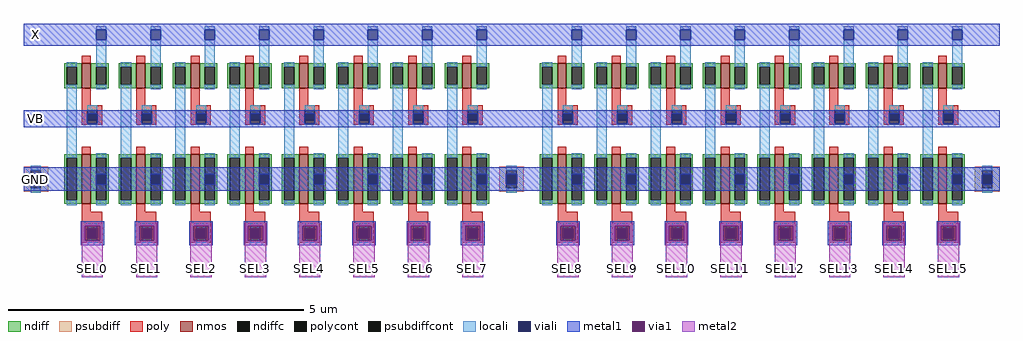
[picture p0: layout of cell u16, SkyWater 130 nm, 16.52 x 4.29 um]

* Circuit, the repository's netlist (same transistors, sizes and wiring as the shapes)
* NGSPICE file created from u16.ext - technology: sky130A

.subckt u16 SEL0 SEL1 SEL2 SEL3 SEL4 SEL5 SEL6 SEL7 SEL8 SEL9 SEL10 SEL11 SEL12 SEL13
+ SEL14 SEL15 X VB GND
X0 X VB a_1426_n392# GND sky130_fd_pr__nfet_01v8 ad=0.126 pd=1.44 as=0.126 ps=1.44 w=0.42 l=0.15
X1 GND SEL7 a_1426_n392# GND sky130_fd_pr__nfet_01v8 ad=0.252 pd=2.28 as=0.252 ps=2.28 w=0.84 l=0.15
X2 X VB a_690_n392# GND sky130_fd_pr__nfet_01v8 ad=0.126 pd=1.44 as=0.126 ps=1.44 w=0.42 l=0.15
X3 X VB a_1932_n392# GND sky130_fd_pr__nfet_01v8 ad=0.126 pd=1.44 as=0.126 ps=1.44 w=0.42 l=0.15
X4 X VB a_1058_n392# GND sky130_fd_pr__nfet_01v8 ad=0.126 pd=1.44 as=0.126 ps=1.44 w=0.42 l=0.15
X5 X VB a_2852_n392# GND sky130_fd_pr__nfet_01v8 ad=0.126 pd=1.44 as=0.126 ps=1.44 w=0.42 l=0.15
X6 GND SEL3 a_690_n392# GND sky130_fd_pr__nfet_01v8 ad=0.252 pd=2.28 as=0.252 ps=2.28 w=0.84 l=0.15
X7 X VB a_874_n392# GND sky130_fd_pr__nfet_01v8 ad=0.126 pd=1.44 as=0.126 ps=1.44 w=0.42 l=0.15
X8 X VB a_2116_n392# GND sky130_fd_pr__nfet_01v8 ad=0.126 pd=1.44 as=0.126 ps=1.44 w=0.42 l=0.15
X9 GND SEL4 a_874_n392# GND sky130_fd_pr__nfet_01v8 ad=0.252 pd=2.28 as=0.252 ps=2.28 w=0.84 l=0.15
X10 GND SEL11 a_2300_n392# GND sky130_fd_pr__nfet_01v8 ad=0.252 pd=2.28 as=0.252 ps=2.28 w=0.84 l=0.15
X11 GND SEL5 a_1058_n392# GND sky130_fd_pr__nfet_01v8 ad=0.252 pd=2.28 as=0.252 ps=2.28 w=0.84 l=0.15
X12 X VB a_1242_n392# GND sky130_fd_pr__nfet_01v8 ad=0.126 pd=1.44 as=0.126 ps=1.44 w=0.42 l=0.15
X13 X VB a_138_n392# GND sky130_fd_pr__nfet_01v8 ad=0.126 pd=1.44 as=0.126 ps=1.44 w=0.42 l=0.15
X14 GND SEL0 a_138_n392# GND sky130_fd_pr__nfet_01v8 ad=0.252 pd=2.28 as=0.252 ps=2.28 w=0.84 l=0.15
X15 GND SEL12 a_2484_n392# GND sky130_fd_pr__nfet_01v8 ad=0.252 pd=2.28 as=0.252 ps=2.28 w=0.84 l=0.15
X16 X VB a_1748_n392# GND sky130_fd_pr__nfet_01v8 ad=0.126 pd=1.44 as=0.126 ps=1.44 w=0.42 l=0.15
X17 GND SEL13 a_2668_n392# GND sky130_fd_pr__nfet_01v8 ad=0.252 pd=2.28 as=0.252 ps=2.28 w=0.84 l=0.15
X18 X VB a_2300_n392# GND sky130_fd_pr__nfet_01v8 ad=0.126 pd=1.44 as=0.126 ps=1.44 w=0.42 l=0.15
X19 GND SEL9 a_1932_n392# GND sky130_fd_pr__nfet_01v8 ad=0.252 pd=2.28 as=0.252 ps=2.28 w=0.84 l=0.15
X20 GND SEL15 a_3036_n392# GND sky130_fd_pr__nfet_01v8 ad=0.252 pd=2.28 as=0.252 ps=2.28 w=0.84 l=0.15
X21 X VB a_322_n392# GND sky130_fd_pr__nfet_01v8 ad=0.126 pd=1.44 as=0.126 ps=1.44 w=0.42 l=0.15
X22 GND SEL6 a_1242_n392# GND sky130_fd_pr__nfet_01v8 ad=0.252 pd=2.28 as=0.252 ps=2.28 w=0.84 l=0.15
X23 X VB a_2484_n392# GND sky130_fd_pr__nfet_01v8 ad=0.126 pd=1.44 as=0.126 ps=1.44 w=0.42 l=0.15
X24 GND SEL1 a_322_n392# GND sky130_fd_pr__nfet_01v8 ad=0.252 pd=2.28 as=0.252 ps=2.28 w=0.84 l=0.15
X25 X VB a_3036_n392# GND sky130_fd_pr__nfet_01v8 ad=0.126 pd=1.44 as=0.126 ps=1.44 w=0.42 l=0.15
X26 X VB a_506_n392# GND sky130_fd_pr__nfet_01v8 ad=0.126 pd=1.44 as=0.126 ps=1.44 w=0.42 l=0.15
X27 GND SEL2 a_506_n392# GND sky130_fd_pr__nfet_01v8 ad=0.252 pd=2.28 as=0.252 ps=2.28 w=0.84 l=0.15
X28 GND SEL14 a_2852_n392# GND sky130_fd_pr__nfet_01v8 ad=0.252 pd=2.28 as=0.252 ps=2.28 w=0.84 l=0.15
X29 X VB a_2668_n392# GND sky130_fd_pr__nfet_01v8 ad=0.126 pd=1.44 as=0.126 ps=1.44 w=0.42 l=0.15
X30 GND SEL8 a_1748_n392# GND sky130_fd_pr__nfet_01v8 ad=0.252 pd=2.28 as=0.252 ps=2.28 w=0.84 l=0.15
X31 GND SEL10 a_2116_n392# GND sky130_fd_pr__nfet_01v8 ad=0.252 pd=2.28 as=0.252 ps=2.28 w=0.84 l=0.15
.ends

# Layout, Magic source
magic
tech sky130A
magscale 1 2
<< nmos >>
rect 198 0 228 84
rect 382 0 412 84
rect 566 0 596 84
rect 750 0 780 84
rect 934 0 964 84
rect 1118 0 1148 84
rect 1302 0 1332 84
rect 1486 0 1516 84
rect 1808 0 1838 84
rect 1992 0 2022 84
rect 2176 0 2206 84
rect 2360 0 2390 84
rect 2544 0 2574 84
rect 2728 0 2758 84
rect 2912 0 2942 84
rect 3096 0 3126 84
rect 198 -392 228 -224
rect 382 -392 412 -224
rect 566 -392 596 -224
rect 750 -392 780 -224
rect 934 -392 964 -224
rect 1118 -392 1148 -224
rect 1302 -392 1332 -224
rect 1486 -392 1516 -224
rect 1808 -392 1838 -224
rect 1992 -392 2022 -224
rect 2176 -392 2206 -224
rect 2360 -392 2390 -224
rect 2544 -392 2574 -224
rect 2728 -392 2758 -224
rect 2912 -392 2942 -224
rect 3096 -392 3126 -224
<< ndiff >>
rect 138 72 198 84
rect 138 12 146 72
rect 180 12 198 72
rect 138 0 198 12
rect 228 72 288 84
rect 228 12 246 72
rect 280 12 288 72
rect 228 0 288 12
rect 322 72 382 84
rect 322 12 330 72
rect 364 12 382 72
rect 322 0 382 12
rect 412 72 472 84
rect 412 12 430 72
rect 464 12 472 72
rect 412 0 472 12
rect 506 72 566 84
rect 506 12 514 72
rect 548 12 566 72
rect 506 0 566 12
rect 596 72 656 84
rect 596 12 614 72
rect 648 12 656 72
rect 596 0 656 12
rect 690 72 750 84
rect 690 12 698 72
rect 732 12 750 72
rect 690 0 750 12
rect 780 72 840 84
rect 780 12 798 72
rect 832 12 840 72
rect 780 0 840 12
rect 874 72 934 84
rect 874 12 882 72
rect 916 12 934 72
rect 874 0 934 12
rect 964 72 1024 84
rect 964 12 982 72
rect 1016 12 1024 72
rect 964 0 1024 12
rect 1058 72 1118 84
rect 1058 12 1066 72
rect 1100 12 1118 72
rect 1058 0 1118 12
rect 1148 72 1208 84
rect 1148 12 1166 72
rect 1200 12 1208 72
rect 1148 0 1208 12
rect 1242 72 1302 84
rect 1242 12 1250 72
rect 1284 12 1302 72
rect 1242 0 1302 12
rect 1332 72 1392 84
rect 1332 12 1350 72
rect 1384 12 1392 72
rect 1332 0 1392 12
rect 1426 72 1486 84
rect 1426 12 1434 72
rect 1468 12 1486 72
rect 1426 0 1486 12
rect 1516 72 1576 84
rect 1516 12 1534 72
rect 1568 12 1576 72
rect 1516 0 1576 12
rect 1748 72 1808 84
rect 1748 12 1756 72
rect 1790 12 1808 72
rect 1748 0 1808 12
rect 1838 72 1898 84
rect 1838 12 1856 72
rect 1890 12 1898 72
rect 1838 0 1898 12
rect 1932 72 1992 84
rect 1932 12 1940 72
rect 1974 12 1992 72
rect 1932 0 1992 12
rect 2022 72 2082 84
rect 2022 12 2040 72
rect 2074 12 2082 72
rect 2022 0 2082 12
rect 2116 72 2176 84
rect 2116 12 2124 72
rect 2158 12 2176 72
rect 2116 0 2176 12
rect 2206 72 2266 84
rect 2206 12 2224 72
rect 2258 12 2266 72
rect 2206 0 2266 12
rect 2300 72 2360 84
rect 2300 12 2308 72
rect 2342 12 2360 72
rect 2300 0 2360 12
rect 2390 72 2450 84
rect 2390 12 2408 72
rect 2442 12 2450 72
rect 2390 0 2450 12
rect 2484 72 2544 84
rect 2484 12 2492 72
rect 2526 12 2544 72
rect 2484 0 2544 12
rect 2574 72 2634 84
rect 2574 12 2592 72
rect 2626 12 2634 72
rect 2574 0 2634 12
rect 2668 72 2728 84
rect 2668 12 2676 72
rect 2710 12 2728 72
rect 2668 0 2728 12
rect 2758 72 2818 84
rect 2758 12 2776 72
rect 2810 12 2818 72
rect 2758 0 2818 12
rect 2852 72 2912 84
rect 2852 12 2860 72
rect 2894 12 2912 72
rect 2852 0 2912 12
rect 2942 72 3002 84
rect 2942 12 2960 72
rect 2994 12 3002 72
rect 2942 0 3002 12
rect 3036 72 3096 84
rect 3036 12 3044 72
rect 3078 12 3096 72
rect 3036 0 3096 12
rect 3126 72 3186 84
rect 3126 12 3144 72
rect 3178 12 3186 72
rect 3126 0 3186 12
rect 138 -236 198 -224
rect 138 -380 146 -236
rect 180 -380 198 -236
rect 138 -392 198 -380
rect 228 -236 288 -224
rect 228 -380 246 -236
rect 280 -380 288 -236
rect 228 -392 288 -380
rect 322 -236 382 -224
rect 322 -380 330 -236
rect 364 -380 382 -236
rect 322 -392 382 -380
rect 412 -236 472 -224
rect 412 -380 430 -236
rect 464 -380 472 -236
rect 412 -392 472 -380
rect 506 -236 566 -224
rect 506 -380 514 -236
rect 548 -380 566 -236
rect 506 -392 566 -380
rect 596 -236 656 -224
rect 596 -380 614 -236
rect 648 -380 656 -236
rect 596 -392 656 -380
rect 690 -236 750 -224
rect 690 -380 698 -236
rect 732 -380 750 -236
rect 690 -392 750 -380
rect 780 -236 840 -224
rect 780 -380 798 -236
rect 832 -380 840 -236
rect 780 -392 840 -380
rect 874 -236 934 -224
rect 874 -380 882 -236
rect 916 -380 934 -236
rect 874 -392 934 -380
rect 964 -236 1024 -224
rect 964 -380 982 -236
rect 1016 -380 1024 -236
rect 964 -392 1024 -380
rect 1058 -236 1118 -224
rect 1058 -380 1066 -236
rect 1100 -380 1118 -236
rect 1058 -392 1118 -380
rect 1148 -236 1208 -224
rect 1148 -380 1166 -236
rect 1200 -380 1208 -236
rect 1148 -392 1208 -380
rect 1242 -236 1302 -224
rect 1242 -380 1250 -236
rect 1284 -380 1302 -236
rect 1242 -392 1302 -380
rect 1332 -236 1392 -224
rect 1332 -380 1350 -236
rect 1384 -380 1392 -236
rect 1332 -392 1392 -380
rect 1426 -236 1486 -224
rect 1426 -380 1434 -236
rect 1468 -380 1486 -236
rect 1426 -392 1486 -380
rect 1516 -236 1576 -224
rect 1516 -380 1534 -236
rect 1568 -380 1576 -236
rect 1748 -236 1808 -224
rect 1516 -392 1576 -380
rect 1748 -380 1756 -236
rect 1790 -380 1808 -236
rect 1748 -392 1808 -380
rect 1838 -236 1898 -224
rect 1838 -380 1856 -236
rect 1890 -380 1898 -236
rect 1838 -392 1898 -380
rect 1932 -236 1992 -224
rect 1932 -380 1940 -236
rect 1974 -380 1992 -236
rect 1932 -392 1992 -380
rect 2022 -236 2082 -224
rect 2022 -380 2040 -236
rect 2074 -380 2082 -236
rect 2022 -392 2082 -380
rect 2116 -236 2176 -224
rect 2116 -380 2124 -236
rect 2158 -380 2176 -236
rect 2116 -392 2176 -380
rect 2206 -236 2266 -224
rect 2206 -380 2224 -236
rect 2258 -380 2266 -236
rect 2206 -392 2266 -380
rect 2300 -236 2360 -224
rect 2300 -380 2308 -236
rect 2342 -380 2360 -236
rect 2300 -392 2360 -380
rect 2390 -236 2450 -224
rect 2390 -380 2408 -236
rect 2442 -380 2450 -236
rect 2390 -392 2450 -380
rect 2484 -236 2544 -224
rect 2484 -380 2492 -236
rect 2526 -380 2544 -236
rect 2484 -392 2544 -380
rect 2574 -236 2634 -224
rect 2574 -380 2592 -236
rect 2626 -380 2634 -236
rect 2574 -392 2634 -380
rect 2668 -236 2728 -224
rect 2668 -380 2676 -236
rect 2710 -380 2728 -236
rect 2668 -392 2728 -380
rect 2758 -236 2818 -224
rect 2758 -380 2776 -236
rect 2810 -380 2818 -236
rect 2758 -392 2818 -380
rect 2852 -236 2912 -224
rect 2852 -380 2860 -236
rect 2894 -380 2912 -236
rect 2852 -392 2912 -380
rect 2942 -236 3002 -224
rect 2942 -380 2960 -236
rect 2994 -380 3002 -236
rect 2942 -392 3002 -380
rect 3036 -236 3096 -224
rect 3036 -380 3044 -236
rect 3078 -380 3096 -236
rect 3036 -392 3096 -380
rect 3126 -236 3186 -224
rect 3126 -380 3144 -236
rect 3178 -380 3186 -236
rect 3126 -392 3186 -380
<< ndiffc >>
rect 146 12 180 72
rect 246 12 280 72
rect 330 12 364 72
rect 430 12 464 72
rect 514 12 548 72
rect 614 12 648 72
rect 698 12 732 72
rect 798 12 832 72
rect 882 12 916 72
rect 982 12 1016 72
rect 1066 12 1100 72
rect 1166 12 1200 72
rect 1250 12 1284 72
rect 1350 12 1384 72
rect 1434 12 1468 72
rect 1534 12 1568 72
rect 1756 12 1790 72
rect 1856 12 1890 72
rect 1940 12 1974 72
rect 2040 12 2074 72
rect 2124 12 2158 72
rect 2224 12 2258 72
rect 2308 12 2342 72
rect 2408 12 2442 72
rect 2492 12 2526 72
rect 2592 12 2626 72
rect 2676 12 2710 72
rect 2776 12 2810 72
rect 2860 12 2894 72
rect 2960 12 2994 72
rect 3044 12 3078 72
rect 3144 12 3178 72
rect 146 -380 180 -236
rect 246 -380 280 -236
rect 330 -380 364 -236
rect 430 -380 464 -236
rect 514 -380 548 -236
rect 614 -380 648 -236
rect 698 -380 732 -236
rect 798 -380 832 -236
rect 882 -380 916 -236
rect 982 -380 1016 -236
rect 1066 -380 1100 -236
rect 1166 -380 1200 -236
rect 1250 -380 1284 -236
rect 1350 -380 1384 -236
rect 1434 -380 1468 -236
rect 1534 -380 1568 -236
rect 1756 -380 1790 -236
rect 1856 -380 1890 -236
rect 1940 -380 1974 -236
rect 2040 -380 2074 -236
rect 2124 -380 2158 -236
rect 2224 -380 2258 -236
rect 2308 -380 2342 -236
rect 2408 -380 2442 -236
rect 2492 -380 2526 -236
rect 2592 -380 2626 -236
rect 2676 -380 2710 -236
rect 2776 -380 2810 -236
rect 2860 -380 2894 -236
rect 2960 -380 2994 -236
rect 3044 -380 3078 -236
rect 3144 -380 3178 -236
<< psubdiff >>
rect 0 -278 84 -266
rect 0 -338 25 -278
rect 59 -338 84 -278
rect 0 -350 84 -338
rect 1610 -278 1694 -266
rect 1610 -338 1635 -278
rect 1669 -338 1694 -278
rect 1610 -350 1694 -338
rect 3220 -278 3304 -266
rect 3220 -338 3245 -278
rect 3279 -338 3304 -278
rect 3220 -350 3304 -338
<< psubdiffcont >>
rect 25 -338 59 -278
rect 1635 -338 1669 -278
rect 3245 -338 3279 -278
<< poly >>
rect 198 84 228 110
rect 382 84 412 110
rect 566 84 596 110
rect 750 84 780 110
rect 934 84 964 110
rect 1118 84 1148 110
rect 1302 84 1332 110
rect 1486 84 1516 110
rect 1808 84 1838 110
rect 1992 84 2022 110
rect 2176 84 2206 110
rect 2360 84 2390 110
rect 2544 84 2574 110
rect 2728 84 2758 110
rect 2912 84 2942 110
rect 3096 84 3126 110
rect 198 -58 228 0
rect 382 -58 412 0
rect 566 -58 596 0
rect 750 -58 780 0
rect 934 -58 964 0
rect 1118 -58 1148 0
rect 1302 -58 1332 0
rect 1486 -58 1516 0
rect 1808 -58 1838 0
rect 1992 -58 2022 0
rect 2176 -58 2206 0
rect 2360 -58 2390 0
rect 2544 -58 2574 0
rect 2728 -58 2758 0
rect 2912 -58 2942 0
rect 3096 -58 3126 0
rect 198 -74 266 -58
rect 198 -108 216 -74
rect 250 -108 266 -74
rect 198 -124 266 -108
rect 382 -74 450 -58
rect 382 -108 400 -74
rect 434 -108 450 -74
rect 382 -124 450 -108
rect 566 -74 634 -58
rect 566 -108 584 -74
rect 618 -108 634 -74
rect 566 -124 634 -108
rect 750 -74 818 -58
rect 750 -108 768 -74
rect 802 -108 818 -74
rect 750 -124 818 -108
rect 934 -74 1002 -58
rect 934 -108 952 -74
rect 986 -108 1002 -74
rect 934 -124 1002 -108
rect 1118 -74 1186 -58
rect 1118 -108 1136 -74
rect 1170 -108 1186 -74
rect 1118 -124 1186 -108
rect 1302 -74 1370 -58
rect 1302 -108 1320 -74
rect 1354 -108 1370 -74
rect 1302 -124 1370 -108
rect 1486 -74 1554 -58
rect 1486 -108 1504 -74
rect 1538 -108 1554 -74
rect 1486 -124 1554 -108
rect 1808 -74 1876 -58
rect 1808 -108 1826 -74
rect 1860 -108 1876 -74
rect 1808 -124 1876 -108
rect 1992 -74 2060 -58
rect 1992 -108 2010 -74
rect 2044 -108 2060 -74
rect 1992 -124 2060 -108
rect 2176 -74 2244 -58
rect 2176 -108 2194 -74
rect 2228 -108 2244 -74
rect 2176 -124 2244 -108
rect 2360 -74 2428 -58
rect 2360 -108 2378 -74
rect 2412 -108 2428 -74
rect 2360 -124 2428 -108
rect 2544 -74 2612 -58
rect 2544 -108 2562 -74
rect 2596 -108 2612 -74
rect 2544 -124 2612 -108
rect 2728 -74 2796 -58
rect 2728 -108 2746 -74
rect 2780 -108 2796 -74
rect 2728 -124 2796 -108
rect 2912 -74 2980 -58
rect 2912 -108 2930 -74
rect 2964 -108 2980 -74
rect 2912 -124 2980 -108
rect 3096 -74 3164 -58
rect 3096 -108 3114 -74
rect 3148 -108 3164 -74
rect 3096 -124 3164 -108
rect 198 -224 228 -198
rect 382 -224 412 -198
rect 566 -224 596 -198
rect 750 -224 780 -198
rect 934 -224 964 -198
rect 1118 -224 1148 -198
rect 1302 -224 1332 -198
rect 1486 -224 1516 -198
rect 1808 -224 1838 -198
rect 1992 -224 2022 -198
rect 2176 -224 2206 -198
rect 2360 -224 2390 -198
rect 2544 -224 2574 -198
rect 2728 -224 2758 -198
rect 2912 -224 2942 -198
rect 3096 -224 3126 -198
rect 198 -418 228 -392
rect 382 -418 412 -392
rect 566 -418 596 -392
rect 750 -418 780 -392
rect 934 -418 964 -392
rect 1118 -418 1148 -392
rect 1302 -418 1332 -392
rect 1486 -418 1516 -392
rect 1808 -418 1838 -392
rect 1992 -418 2022 -392
rect 2176 -418 2206 -392
rect 2360 -418 2390 -392
rect 2544 -418 2574 -392
rect 2728 -418 2758 -392
rect 2912 -418 2942 -392
rect 3096 -418 3126 -392
rect 198 -474 266 -418
rect 198 -508 216 -474
rect 250 -508 266 -474
rect 198 -524 266 -508
rect 382 -474 450 -418
rect 382 -508 400 -474
rect 434 -508 450 -474
rect 382 -524 450 -508
rect 566 -474 634 -418
rect 566 -508 584 -474
rect 618 -508 634 -474
rect 566 -524 634 -508
rect 750 -474 818 -418
rect 750 -508 768 -474
rect 802 -508 818 -474
rect 750 -524 818 -508
rect 934 -474 1002 -418
rect 934 -508 952 -474
rect 986 -508 1002 -474
rect 934 -524 1002 -508
rect 1118 -474 1186 -418
rect 1118 -508 1136 -474
rect 1170 -508 1186 -474
rect 1118 -524 1186 -508
rect 1302 -474 1370 -418
rect 1302 -508 1320 -474
rect 1354 -508 1370 -474
rect 1302 -524 1370 -508
rect 1486 -474 1554 -418
rect 1486 -508 1504 -474
rect 1538 -508 1554 -474
rect 1486 -524 1554 -508
rect 1808 -474 1876 -418
rect 1808 -508 1826 -474
rect 1860 -508 1876 -474
rect 1808 -524 1876 -508
rect 1992 -474 2060 -418
rect 1992 -508 2010 -474
rect 2044 -508 2060 -474
rect 1992 -524 2060 -508
rect 2176 -474 2244 -418
rect 2176 -508 2194 -474
rect 2228 -508 2244 -474
rect 2176 -524 2244 -508
rect 2360 -474 2428 -418
rect 2360 -508 2378 -474
rect 2412 -508 2428 -474
rect 2360 -524 2428 -508
rect 2544 -474 2612 -418
rect 2544 -508 2562 -474
rect 2596 -508 2612 -474
rect 2544 -524 2612 -508
rect 2728 -474 2796 -418
rect 2728 -508 2746 -474
rect 2780 -508 2796 -474
rect 2728 -524 2796 -508
rect 2912 -474 2980 -418
rect 2912 -508 2930 -474
rect 2964 -508 2980 -474
rect 2912 -524 2980 -508
rect 3096 -474 3164 -418
rect 3096 -508 3114 -474
rect 3148 -508 3164 -474
rect 3096 -524 3164 -508
<< polycont >>
rect 216 -108 250 -74
rect 400 -108 434 -74
rect 584 -108 618 -74
rect 768 -108 802 -74
rect 952 -108 986 -74
rect 1136 -108 1170 -74
rect 1320 -108 1354 -74
rect 1504 -108 1538 -74
rect 1826 -108 1860 -74
rect 2010 -108 2044 -74
rect 2194 -108 2228 -74
rect 2378 -108 2412 -74
rect 2562 -108 2596 -74
rect 2746 -108 2780 -74
rect 2930 -108 2964 -74
rect 3114 -108 3148 -74
rect 216 -508 250 -474
rect 400 -508 434 -474
rect 584 -508 618 -474
rect 768 -508 802 -474
rect 952 -508 986 -474
rect 1136 -508 1170 -474
rect 1320 -508 1354 -474
rect 1504 -508 1538 -474
rect 1826 -508 1860 -474
rect 2010 -508 2044 -474
rect 2194 -508 2228 -474
rect 2378 -508 2412 -474
rect 2562 -508 2596 -474
rect 2746 -508 2780 -474
rect 2930 -508 2964 -474
rect 3114 -508 3148 -474
<< locali >>
rect 246 198 280 210
rect 146 72 180 88
rect 146 -236 180 12
rect 246 72 280 164
rect 430 198 464 210
rect 246 -4 280 12
rect 330 72 364 88
rect 216 -74 250 -58
rect 216 -124 250 -120
rect 25 -278 59 -262
rect 25 -354 59 -338
rect 146 -396 180 -380
rect 246 -236 280 -220
rect 246 -396 280 -380
rect 330 -236 364 12
rect 430 72 464 164
rect 614 198 648 210
rect 430 -4 464 12
rect 514 72 548 88
rect 400 -74 434 -58
rect 400 -124 434 -120
rect 330 -396 364 -380
rect 430 -236 464 -220
rect 430 -396 464 -380
rect 514 -236 548 12
rect 614 72 648 164
rect 798 198 832 210
rect 614 -4 648 12
rect 698 72 732 88
rect 584 -74 618 -58
rect 584 -124 618 -120
rect 514 -396 548 -380
rect 614 -236 648 -220
rect 614 -396 648 -380
rect 698 -236 732 12
rect 798 72 832 164
rect 982 198 1016 210
rect 798 -4 832 12
rect 882 72 916 88
rect 768 -74 802 -58
rect 768 -124 802 -120
rect 698 -396 732 -380
rect 798 -236 832 -220
rect 798 -396 832 -380
rect 882 -236 916 12
rect 982 72 1016 164
rect 1166 198 1200 210
rect 982 -4 1016 12
rect 1066 72 1100 88
rect 952 -74 986 -58
rect 952 -124 986 -120
rect 882 -396 916 -380
rect 982 -236 1016 -220
rect 982 -396 1016 -380
rect 1066 -236 1100 12
rect 1166 72 1200 164
rect 1350 198 1384 210
rect 1166 -4 1200 12
rect 1250 72 1284 88
rect 1136 -74 1170 -58
rect 1136 -124 1170 -120
rect 1066 -396 1100 -380
rect 1166 -236 1200 -220
rect 1166 -396 1200 -380
rect 1250 -236 1284 12
rect 1350 72 1384 164
rect 1534 198 1568 210
rect 1350 -4 1384 12
rect 1434 72 1468 88
rect 1320 -74 1354 -58
rect 1320 -124 1354 -120
rect 1250 -396 1284 -380
rect 1350 -236 1384 -220
rect 1350 -396 1384 -380
rect 1434 -236 1468 12
rect 1534 72 1568 164
rect 1856 198 1890 210
rect 1534 -4 1568 12
rect 1756 72 1790 88
rect 1504 -74 1538 -58
rect 1504 -124 1538 -120
rect 1434 -396 1468 -380
rect 1534 -236 1568 -220
rect 1756 -236 1790 12
rect 1856 72 1890 164
rect 2040 198 2074 210
rect 1856 -4 1890 12
rect 1940 72 1974 88
rect 1826 -74 1860 -58
rect 1826 -124 1860 -120
rect 1635 -278 1669 -262
rect 1635 -354 1669 -338
rect 1534 -396 1568 -380
rect 1756 -396 1790 -380
rect 1856 -236 1890 -220
rect 1856 -396 1890 -380
rect 1940 -236 1974 12
rect 2040 72 2074 164
rect 2224 198 2258 210
rect 2040 -4 2074 12
rect 2124 72 2158 88
rect 2010 -74 2044 -58
rect 2010 -124 2044 -120
rect 1940 -396 1974 -380
rect 2040 -236 2074 -220
rect 2040 -396 2074 -380
rect 2124 -236 2158 12
rect 2224 72 2258 164
rect 2408 198 2442 210
rect 2224 -4 2258 12
rect 2308 72 2342 88
rect 2194 -74 2228 -58
rect 2194 -124 2228 -120
rect 2124 -396 2158 -380
rect 2224 -236 2258 -220
rect 2224 -396 2258 -380
rect 2308 -236 2342 12
rect 2408 72 2442 164
rect 2592 198 2626 210
rect 2408 -4 2442 12
rect 2492 72 2526 88
rect 2378 -74 2412 -58
rect 2378 -124 2412 -120
rect 2308 -396 2342 -380
rect 2408 -236 2442 -220
rect 2408 -396 2442 -380
rect 2492 -236 2526 12
rect 2592 72 2626 164
rect 2776 198 2810 210
rect 2592 -4 2626 12
rect 2676 72 2710 88
rect 2562 -74 2596 -58
rect 2562 -124 2596 -120
rect 2492 -396 2526 -380
rect 2592 -236 2626 -220
rect 2592 -396 2626 -380
rect 2676 -236 2710 12
rect 2776 72 2810 164
rect 2960 198 2994 210
rect 2776 -4 2810 12
rect 2860 72 2894 88
rect 2746 -74 2780 -58
rect 2746 -124 2780 -120
rect 2676 -396 2710 -380
rect 2776 -236 2810 -220
rect 2776 -396 2810 -380
rect 2860 -236 2894 12
rect 2960 72 2994 164
rect 3144 198 3178 210
rect 2960 -4 2994 12
rect 3044 72 3078 88
rect 2930 -74 2964 -58
rect 2930 -124 2964 -120
rect 2860 -396 2894 -380
rect 2960 -236 2994 -220
rect 2960 -396 2994 -380
rect 3044 -236 3078 12
rect 3144 72 3178 164
rect 3144 -4 3178 12
rect 3114 -74 3148 -58
rect 3114 -124 3148 -120
rect 3044 -396 3078 -380
rect 3144 -236 3178 -220
rect 3245 -278 3279 -262
rect 3245 -354 3279 -338
rect 3144 -396 3178 -380
rect 216 -474 250 -458
rect 216 -524 250 -508
rect 400 -474 434 -458
rect 400 -524 434 -508
rect 584 -474 618 -458
rect 584 -524 618 -508
rect 768 -474 802 -458
rect 768 -524 802 -508
rect 952 -474 986 -458
rect 952 -524 986 -508
rect 1136 -474 1170 -458
rect 1136 -524 1170 -508
rect 1320 -474 1354 -458
rect 1320 -524 1354 -508
rect 1504 -474 1538 -458
rect 1504 -524 1538 -508
rect 1826 -474 1860 -458
rect 1826 -524 1860 -508
rect 2010 -474 2044 -458
rect 2010 -524 2044 -508
rect 2194 -474 2228 -458
rect 2194 -524 2228 -508
rect 2378 -474 2412 -458
rect 2378 -524 2412 -508
rect 2562 -474 2596 -458
rect 2562 -524 2596 -508
rect 2746 -474 2780 -458
rect 2746 -524 2780 -508
rect 2930 -474 2964 -458
rect 2930 -524 2964 -508
rect 3114 -474 3148 -458
rect 3114 -524 3148 -508
<< viali >>
rect 246 164 280 198
rect 430 164 464 198
rect 216 -108 250 -86
rect 216 -120 250 -108
rect 25 -325 59 -291
rect 246 -325 280 -291
rect 614 164 648 198
rect 400 -108 434 -86
rect 400 -120 434 -108
rect 430 -325 464 -291
rect 798 164 832 198
rect 584 -108 618 -86
rect 584 -120 618 -108
rect 614 -325 648 -291
rect 982 164 1016 198
rect 768 -108 802 -86
rect 768 -120 802 -108
rect 798 -325 832 -291
rect 1166 164 1200 198
rect 952 -108 986 -86
rect 952 -120 986 -108
rect 982 -325 1016 -291
rect 1350 164 1384 198
rect 1136 -108 1170 -86
rect 1136 -120 1170 -108
rect 1166 -325 1200 -291
rect 1534 164 1568 198
rect 1320 -108 1354 -86
rect 1320 -120 1354 -108
rect 1350 -325 1384 -291
rect 1856 164 1890 198
rect 1504 -108 1538 -86
rect 1504 -120 1538 -108
rect 2040 164 2074 198
rect 1826 -108 1860 -86
rect 1826 -120 1860 -108
rect 1534 -325 1568 -291
rect 1635 -325 1669 -291
rect 1856 -325 1890 -291
rect 2224 164 2258 198
rect 2010 -108 2044 -86
rect 2010 -120 2044 -108
rect 2040 -325 2074 -291
rect 2408 164 2442 198
rect 2194 -108 2228 -86
rect 2194 -120 2228 -108
rect 2224 -325 2258 -291
rect 2592 164 2626 198
rect 2378 -108 2412 -86
rect 2378 -120 2412 -108
rect 2408 -325 2442 -291
rect 2776 164 2810 198
rect 2562 -108 2596 -86
rect 2562 -120 2596 -108
rect 2592 -325 2626 -291
rect 2960 164 2994 198
rect 2746 -108 2780 -86
rect 2746 -120 2780 -108
rect 2776 -325 2810 -291
rect 3144 164 3178 198
rect 2930 -108 2964 -86
rect 2930 -120 2964 -108
rect 2960 -325 2994 -291
rect 3114 -108 3148 -86
rect 3114 -120 3148 -108
rect 3144 -325 3178 -291
rect 3245 -325 3279 -291
rect 216 -508 250 -474
rect 400 -508 434 -474
rect 584 -508 618 -474
rect 768 -508 802 -474
rect 952 -508 986 -474
rect 1136 -508 1170 -474
rect 1320 -508 1354 -474
rect 1504 -508 1538 -474
rect 1826 -508 1860 -474
rect 2010 -508 2044 -474
rect 2194 -508 2228 -474
rect 2378 -508 2412 -474
rect 2562 -508 2596 -474
rect 2746 -508 2780 -474
rect 2930 -508 2964 -474
rect 3114 -508 3148 -474
<< metal1 >>
rect 0 198 3304 218
rect 0 164 246 198
rect 280 164 430 198
rect 464 164 614 198
rect 648 164 798 198
rect 832 164 982 198
rect 1016 164 1166 198
rect 1200 164 1350 198
rect 1384 164 1534 198
rect 1568 164 1856 198
rect 1890 164 2040 198
rect 2074 164 2224 198
rect 2258 164 2408 198
rect 2442 164 2592 198
rect 2626 164 2776 198
rect 2810 164 2960 198
rect 2994 164 3144 198
rect 3178 164 3304 198
rect 0 144 3304 164
rect 0 -86 3304 -74
rect 0 -120 216 -86
rect 250 -120 400 -86
rect 434 -120 584 -86
rect 618 -120 768 -86
rect 802 -120 952 -86
rect 986 -120 1136 -86
rect 1170 -120 1320 -86
rect 1354 -120 1504 -86
rect 1538 -120 1826 -86
rect 1860 -120 2010 -86
rect 2044 -120 2194 -86
rect 2228 -120 2378 -86
rect 2412 -120 2562 -86
rect 2596 -120 2746 -86
rect 2780 -120 2930 -86
rect 2964 -120 3114 -86
rect 3148 -120 3304 -86
rect 0 -132 3304 -120
rect 0 -291 3304 -268
rect 0 -325 25 -291
rect 59 -325 246 -291
rect 280 -325 430 -291
rect 464 -325 614 -291
rect 648 -325 798 -291
rect 832 -325 982 -291
rect 1016 -325 1166 -291
rect 1200 -325 1350 -291
rect 1384 -325 1534 -291
rect 1568 -325 1635 -291
rect 1669 -325 1856 -291
rect 1890 -325 2040 -291
rect 2074 -325 2224 -291
rect 2258 -325 2408 -291
rect 2442 -325 2592 -291
rect 2626 -325 2776 -291
rect 2810 -325 2960 -291
rect 2994 -325 3144 -291
rect 3178 -325 3245 -291
rect 3279 -325 3304 -291
rect 0 -348 3304 -325
rect 193 -465 273 -451
rect 193 -517 207 -465
rect 259 -517 273 -465
rect 193 -531 273 -517
rect 377 -465 457 -451
rect 377 -517 391 -465
rect 443 -517 457 -465
rect 377 -531 457 -517
rect 561 -465 641 -451
rect 561 -517 575 -465
rect 627 -517 641 -465
rect 561 -531 641 -517
rect 745 -465 825 -451
rect 745 -517 759 -465
rect 811 -517 825 -465
rect 745 -531 825 -517
rect 929 -465 1009 -451
rect 929 -517 943 -465
rect 995 -517 1009 -465
rect 929 -531 1009 -517
rect 1113 -465 1193 -451
rect 1113 -517 1127 -465
rect 1179 -517 1193 -465
rect 1113 -531 1193 -517
rect 1297 -465 1377 -451
rect 1297 -517 1311 -465
rect 1363 -517 1377 -465
rect 1297 -531 1377 -517
rect 1481 -465 1561 -451
rect 1481 -517 1495 -465
rect 1547 -517 1561 -465
rect 1481 -531 1561 -517
rect 1803 -465 1883 -451
rect 1803 -517 1817 -465
rect 1869 -517 1883 -465
rect 1803 -531 1883 -517
rect 1987 -465 2067 -451
rect 1987 -517 2001 -465
rect 2053 -517 2067 -465
rect 1987 -531 2067 -517
rect 2171 -465 2251 -451
rect 2171 -517 2185 -465
rect 2237 -517 2251 -465
rect 2171 -531 2251 -517
rect 2355 -465 2435 -451
rect 2355 -517 2369 -465
rect 2421 -517 2435 -465
rect 2355 -531 2435 -517
rect 2539 -465 2619 -451
rect 2539 -517 2553 -465
rect 2605 -517 2619 -465
rect 2539 -531 2619 -517
rect 2723 -465 2803 -451
rect 2723 -517 2737 -465
rect 2789 -517 2803 -465
rect 2723 -531 2803 -517
rect 2907 -465 2987 -451
rect 2907 -517 2921 -465
rect 2973 -517 2987 -465
rect 2907 -531 2987 -517
rect 3091 -465 3171 -451
rect 3091 -517 3105 -465
rect 3157 -517 3171 -465
rect 3091 -531 3171 -517
<< via1 >>
rect 207 -474 259 -465
rect 207 -508 216 -474
rect 216 -508 250 -474
rect 250 -508 259 -474
rect 207 -517 259 -508
rect 391 -474 443 -465
rect 391 -508 400 -474
rect 400 -508 434 -474
rect 434 -508 443 -474
rect 391 -517 443 -508
rect 575 -474 627 -465
rect 575 -508 584 -474
rect 584 -508 618 -474
rect 618 -508 627 -474
rect 575 -517 627 -508
rect 759 -474 811 -465
rect 759 -508 768 -474
rect 768 -508 802 -474
rect 802 -508 811 -474
rect 759 -517 811 -508
rect 943 -474 995 -465
rect 943 -508 952 -474
rect 952 -508 986 -474
rect 986 -508 995 -474
rect 943 -517 995 -508
rect 1127 -474 1179 -465
rect 1127 -508 1136 -474
rect 1136 -508 1170 -474
rect 1170 -508 1179 -474
rect 1127 -517 1179 -508
rect 1311 -474 1363 -465
rect 1311 -508 1320 -474
rect 1320 -508 1354 -474
rect 1354 -508 1363 -474
rect 1311 -517 1363 -508
rect 1495 -474 1547 -465
rect 1495 -508 1504 -474
rect 1504 -508 1538 -474
rect 1538 -508 1547 -474
rect 1495 -517 1547 -508
rect 1817 -474 1869 -465
rect 1817 -508 1826 -474
rect 1826 -508 1860 -474
rect 1860 -508 1869 -474
rect 1817 -517 1869 -508
rect 2001 -474 2053 -465
rect 2001 -508 2010 -474
rect 2010 -508 2044 -474
rect 2044 -508 2053 -474
rect 2001 -517 2053 -508
rect 2185 -474 2237 -465
rect 2185 -508 2194 -474
rect 2194 -508 2228 -474
rect 2228 -508 2237 -474
rect 2185 -517 2237 -508
rect 2369 -474 2421 -465
rect 2369 -508 2378 -474
rect 2378 -508 2412 -474
rect 2412 -508 2421 -474
rect 2369 -517 2421 -508
rect 2553 -474 2605 -465
rect 2553 -508 2562 -474
rect 2562 -508 2596 -474
rect 2596 -508 2605 -474
rect 2553 -517 2605 -508
rect 2737 -474 2789 -465
rect 2737 -508 2746 -474
rect 2746 -508 2780 -474
rect 2780 -508 2789 -474
rect 2737 -517 2789 -508
rect 2921 -474 2973 -465
rect 2921 -508 2930 -474
rect 2930 -508 2964 -474
rect 2964 -508 2973 -474
rect 2921 -517 2973 -508
rect 3105 -474 3157 -465
rect 3105 -508 3114 -474
rect 3114 -508 3148 -474
rect 3148 -508 3157 -474
rect 3105 -517 3157 -508
<< metal2 >>
rect 197 -465 269 -455
rect 197 -517 207 -465
rect 259 -517 269 -465
rect 197 -640 269 -517
rect 381 -465 453 -455
rect 381 -517 391 -465
rect 443 -517 453 -465
rect 381 -640 453 -517
rect 565 -465 637 -455
rect 565 -517 575 -465
rect 627 -517 637 -465
rect 565 -640 637 -517
rect 749 -465 821 -455
rect 749 -517 759 -465
rect 811 -517 821 -465
rect 749 -640 821 -517
rect 933 -465 1005 -455
rect 933 -517 943 -465
rect 995 -517 1005 -465
rect 933 -640 1005 -517
rect 1117 -465 1189 -455
rect 1117 -517 1127 -465
rect 1179 -517 1189 -465
rect 1117 -640 1189 -517
rect 1301 -465 1373 -455
rect 1301 -517 1311 -465
rect 1363 -517 1373 -465
rect 1301 -640 1373 -517
rect 1485 -465 1557 -455
rect 1485 -517 1495 -465
rect 1547 -517 1557 -465
rect 1485 -640 1557 -517
rect 1807 -465 1879 -455
rect 1807 -517 1817 -465
rect 1869 -517 1879 -465
rect 1807 -640 1879 -517
rect 1991 -465 2063 -455
rect 1991 -517 2001 -465
rect 2053 -517 2063 -465
rect 1991 -640 2063 -517
rect 2175 -465 2247 -455
rect 2175 -517 2185 -465
rect 2237 -517 2247 -465
rect 2175 -640 2247 -517
rect 2359 -465 2431 -455
rect 2359 -517 2369 -465
rect 2421 -517 2431 -465
rect 2359 -640 2431 -517
rect 2543 -465 2615 -455
rect 2543 -517 2553 -465
rect 2605 -517 2615 -465
rect 2543 -640 2615 -517
rect 2727 -465 2799 -455
rect 2727 -517 2737 -465
rect 2789 -517 2799 -465
rect 2727 -640 2799 -517
rect 2911 -465 2983 -455
rect 2911 -517 2921 -465
rect 2973 -517 2983 -465
rect 2911 -640 2983 -517
rect 3095 -465 3167 -455
rect 3095 -517 3105 -465
rect 3157 -517 3167 -465
rect 3095 -640 3167 -517
<< labels >>
flabel metal2 197 -640 269 -580 0 FreeSans 320 0 0 0 SEL0
port 1 nsew
flabel metal2 381 -640 453 -580 0 FreeSans 320 0 0 0 SEL1
port 2 nsew
flabel metal2 565 -640 637 -580 0 FreeSans 320 0 0 0 SEL2
port 3 nsew
flabel metal2 749 -640 821 -580 0 FreeSans 320 0 0 0 SEL3
port 4 nsew
flabel metal2 933 -640 1005 -580 0 FreeSans 320 0 0 0 SEL4
port 5 nsew
flabel metal2 1117 -640 1189 -580 0 FreeSans 320 0 0 0 SEL5
port 6 nsew
flabel metal2 1301 -640 1373 -580 0 FreeSans 320 0 0 0 SEL6
port 7 nsew
flabel metal2 1485 -640 1557 -580 0 FreeSans 320 0 0 0 SEL7
port 8 nsew
flabel metal2 1807 -640 1879 -580 0 FreeSans 320 0 0 0 SEL8
port 9 nsew
flabel metal2 1991 -640 2063 -580 0 FreeSans 320 0 0 0 SEL9
port 10 nsew
flabel metal2 2175 -640 2247 -580 0 FreeSans 320 0 0 0 SEL10
port 11 nsew
flabel metal2 2359 -640 2431 -580 0 FreeSans 320 0 0 0 SEL11
port 12 nsew
flabel metal2 2543 -640 2615 -580 0 FreeSans 320 0 0 0 SEL12
port 13 nsew
flabel metal2 2727 -640 2799 -580 0 FreeSans 320 0 0 0 SEL13
port 14 nsew
flabel metal2 2911 -640 2983 -580 0 FreeSans 320 0 0 0 SEL14
port 15 nsew
flabel metal2 3095 -640 3167 -580 0 FreeSans 320 0 0 0 SEL15
port 16 nsew
flabel metal1 0 144 80 218 0 FreeSans 320 0 0 0 X
port 17 nsew
flabel metal1 0 -132 80 -74 0 FreeSans 320 0 0 0 VB
port 18 nsew
flabel metal1 0 -348 80 -268 0 FreeSans 320 0 0 0 GND
port 19 nsew
<< end >>
